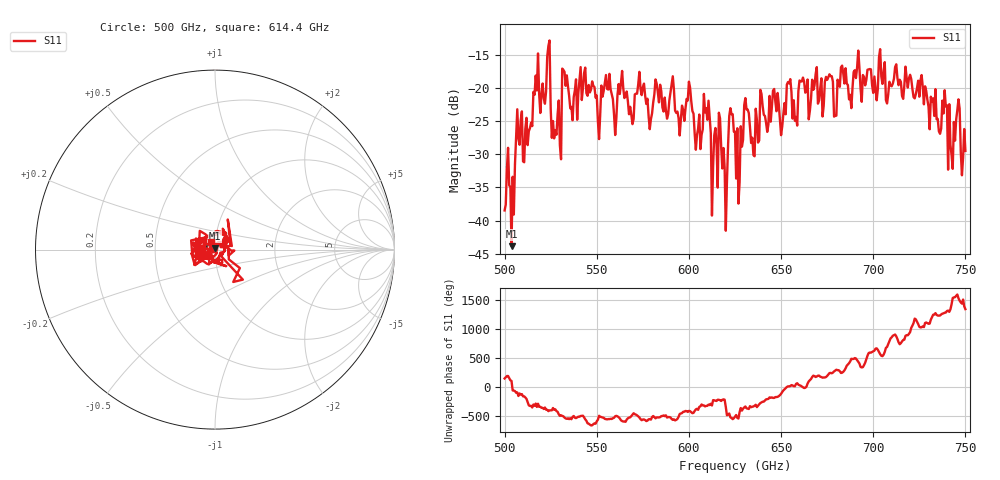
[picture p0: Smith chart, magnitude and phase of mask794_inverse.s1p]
!Created with skrf (http://scikit-rf.org).
# GHz S MA R 50.0
!freq magS11 angS11
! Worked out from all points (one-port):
!   401 points, 500 GHz to 750 GHz, reference 50 ohm
!   lowest |S11| = -43.9 dB at 503.8 GHz (marker M1), VSWR 1.01, Z = 49.9 + j0.633 ohm
!   |S11| at or under -10 dB: start of sweep to end of sweep
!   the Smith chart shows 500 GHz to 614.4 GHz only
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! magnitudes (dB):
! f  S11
! 500 GHz  -38.5
! 503.8 GHz  -43.9
! 507.5 GHz  -27.6
! 513.8 GHz  -26.1
! 516.9 GHz  -18.1
! 523.8 GHz  -13.7
! 526.9 GHz  -27.6
! 531.2 GHz  -17.1
! 532.5 GHz  -17.6
! 550.6 GHz  -25.0
! 562.5 GHz  -20.9
! 590.6 GHz  -19.5
! 593.8 GHz  -23.6
! 609.4 GHz  -23.0
! 612.5 GHz  -39.2
! 617.5 GHz  -28.9
! 619.4 GHz  -32.0
! 622.5 GHz  -23.0
! 625 GHz  -26.6
! 626.2 GHz  -26.1
! 631.2 GHz  -23.2
! 634.4 GHz  -27.5
! 640 GHz  -22.7
! 656.2 GHz  -24.6
! 687.5 GHz  -21.0
! 691.2 GHz  -16.9
! 718.8 GHz  -19.9
! 750 GHz  -29.5
